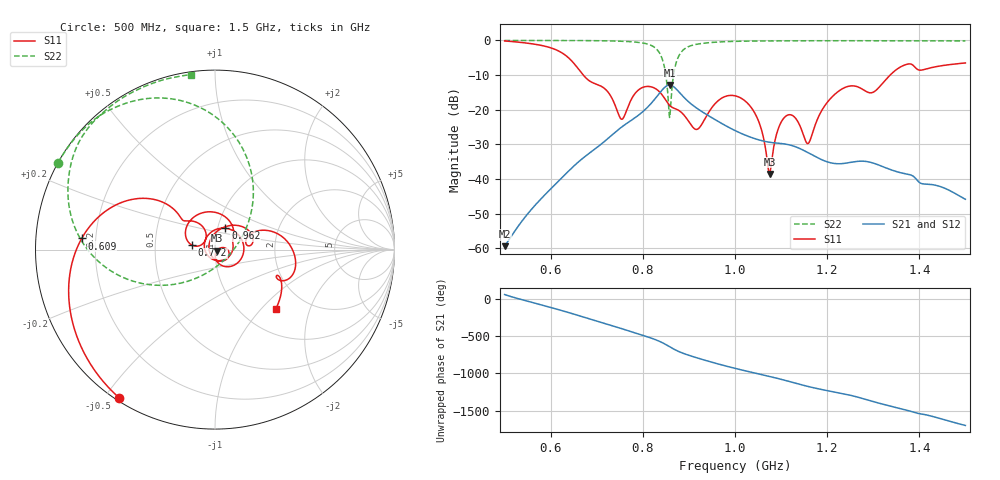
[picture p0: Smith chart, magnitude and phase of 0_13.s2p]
! TOUCHSTONE file generated by CST MICROWAVE STUDIO
! Date and time: Mon Sep 28 14:08:02 2020
! Project name: Scenario_1_Free_SPace.cst
! Parameters = {dx1=381.1; L_HA=400; MT=2.54; Rad_Dielectric=30; Rad_Lower=7.3; Rad_Upper=30; a_HA=580; a_WG=246; b_HA=500; b_WG=121; c_HA=0; c_WG=187; d_feed=85; h_feed=15; h_lower=18; h_upper=40}
! Header version: 2018
! Port assignment regex: !\s*Touchstone port\s*([0-9]+)\s*=\s*(CST MWS port|CST DS port)\s*([0-9]+|Zmin|Zmax)\s*\(\"(.*)\"\)(\s*mode\s*([0-9]+))?.*
! Touchstone port assignment:
! Touchstone port 1 = CST MWS port 1 ("")
! Touchstone port 2 = CST MWS port 2 ("")
# GHz S DB R 50
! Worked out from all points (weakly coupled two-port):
!   1003 points, 500 MHz to 1.5 GHz, reference 50 ohm
!   highest |S21| = -12.86 dB at 858 MHz (marker M1); lowest = -59.3 dB at 500 MHz (marker M2)
!   lowest |S11| = -38.5 dB at 1.075 GHz (marker M3), VSWR 1.02, Z = 51 - j0.632 ohm
!   |S11| at or under -10 dB: 670.8 MHz to 1.337 GHz (665.7 MHz wide, 66.3 % of centre)
!   |S22| runs from -22.2 to 0.0 dB; largest |S21 - S12| = 6.4e-06
!   S11 on the Smith chart (normalised r, x): 500 MHz: 0.01, -0.55; 609 MHz: 0.15, +0.04; 772 MHz: 0.77, +0.04; 962 MHz: 1.09, +0.26; 1.5 GHz: 1.42, -1.21
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0.5  -0.15 -122.8  -59.34 61.8  -59.34 61.8  -0.01 151.1
0.609  -2.55 175.2  -41.62 -127.3  -41.62 -127.3  -0.02 143.4
0.667  -9.38 135.8  -34.28 126.7  -34.28 126.7  -0.04 138.3
0.722  -14.51 125.0  -28.52 25.6  -28.52 25.6  -0.11 131.9
0.753  -22.68 140.6  -25.07 -34.8  -25.07 -34.8  -0.23 126.8
0.772  -17.80 169.2  -23.30 -72.9  -23.30 -72.9  -0.36 122.7
0.834  -14.55 69.5  -15.58 158.3  -15.58 158.3  -3.17 85.2
0.858  -18.73 30.4  -12.86 80.3  -12.86 80.3  -22.22 -43.0
0.872  -19.77 10.6  -13.96 32.6  -13.96 32.6  -6.57 -157.1
0.89  -21.65 -34.1  -16.52 -14.2  -16.52 -14.2  -2.49 175.6
0.919  -25.58 -153.8  -19.73 -72.5  -19.73 -72.5  -1.05 157.7
0.962  -17.55 63.9  -23.25 -149.5  -23.25 -149.5  -0.47 146.4
1  -15.97 -8.4  -25.99 149.3  -25.99 149.3  -0.26 140.3
1.046  -21.73 -74.0  -28.46 81.5  -28.46 81.5  -0.17 134.8
1.075  -38.49 -31.4  -29.37 40.1  -29.37 40.1  -0.14 131.9
1.092  -26.23 13.3  -29.62 14.7  -29.62 14.7  -0.13 130.4
1.11  -21.87 -13.5  -29.91 -14.5  -29.91 -14.5  -0.12 128.8
1.167  -27.21 139.1  -32.98 -107.2  -32.98 -107.2  -0.09 124.2
1.224  -14.73 47.2  -35.57 -178.2  -35.57 -178.2  -0.08 119.8
1.298  -15.04 14.9  -35.30 65.7  -35.30 65.7  -0.09 114.2
1.334  -10.34 20.7  -37.09 6.2  -37.09 6.2  -0.09 111.5
1.5  -6.50 -44.4  -45.82 101.1  -45.83 101.1  -0.14 97.9
